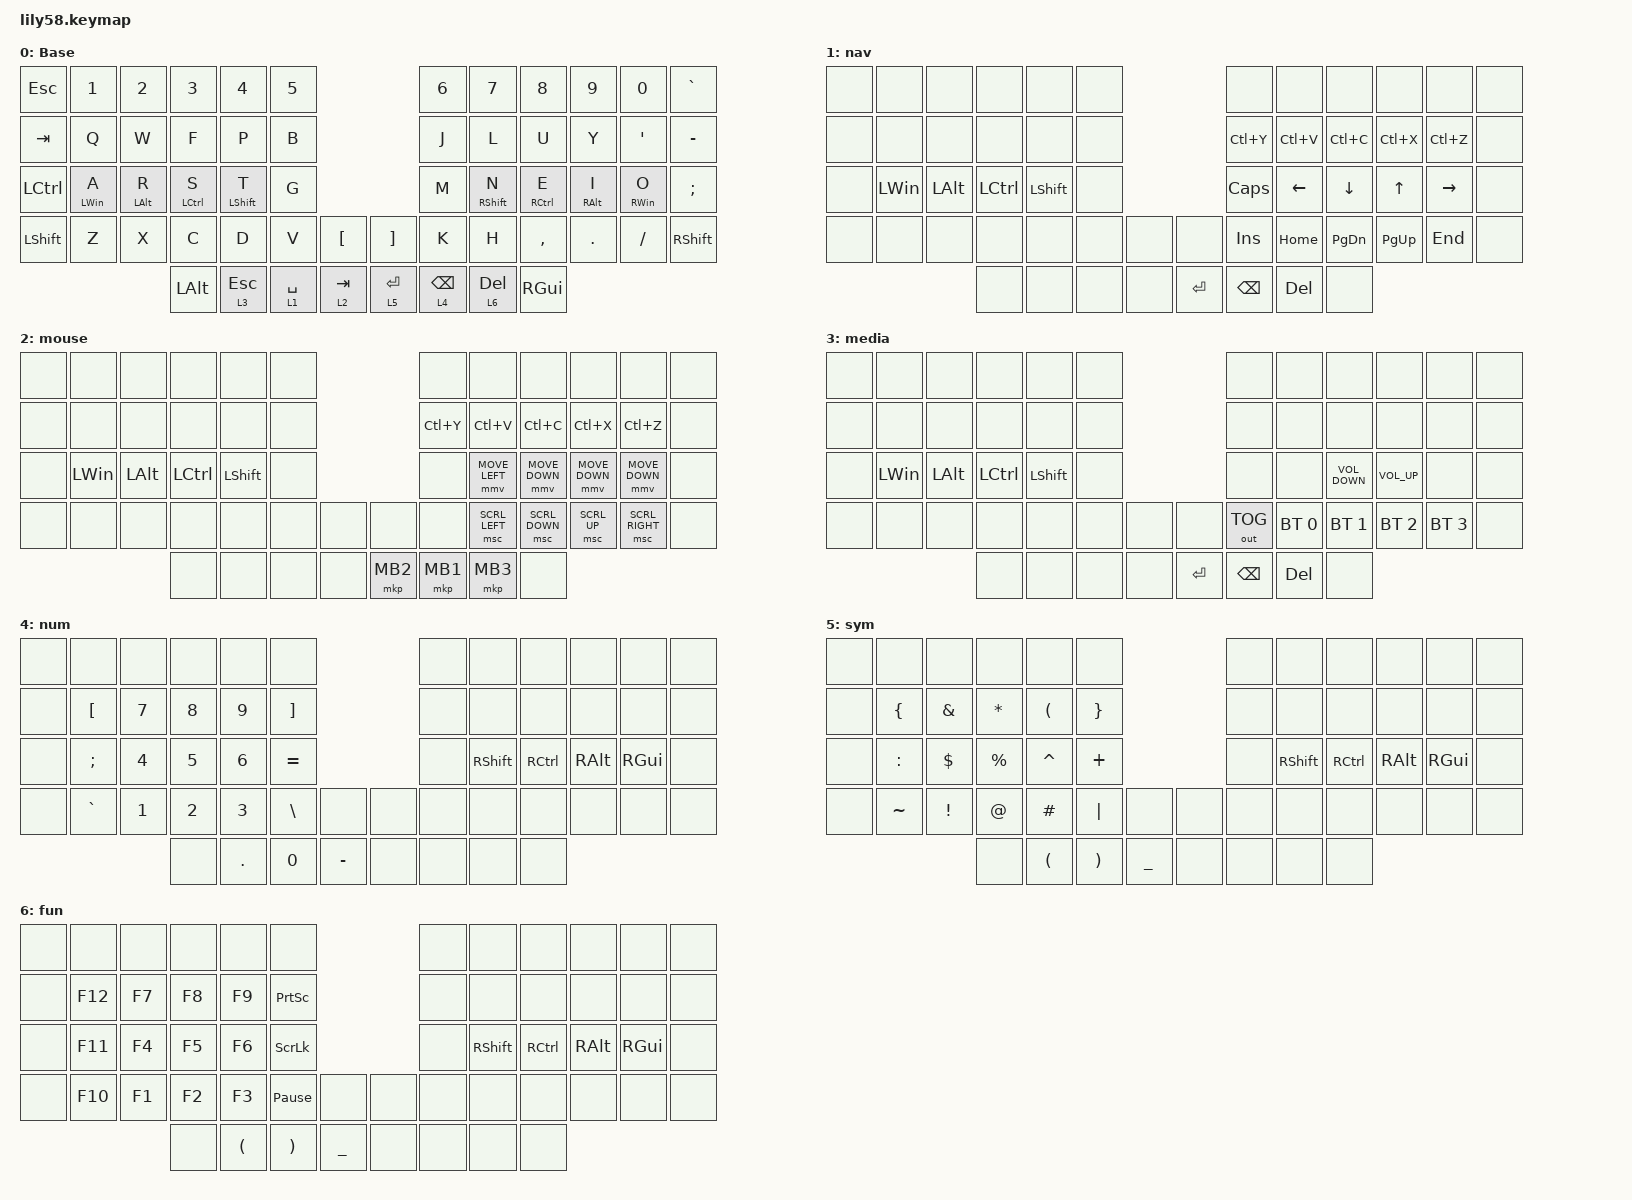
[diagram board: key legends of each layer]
/*
 * Copyright (c) 2020 The ZMK Contributors
 *
 * SPDX-License-Identifier: MIT
 */

#include <behaviors.dtsi>
#include <dt-bindings/zmk/bt.h>
#include <dt-bindings/zmk/keys.h>
#include <dt-bindings/zmk/outputs.h>
#include <dt-bindings/zmk/pointing.h>

&mt { flavor = "balanced"; };

/ {
    keymap {
        compatible = "zmk,keymap";

        default_layer {
            // ------------------------------------------------------------------------------------------------------------
            // |  ESC  |  1  |  2  |  3   |  4   |  5   |                   |  6   |  7    |  8    |  9   |   0   |   `   |
            // |  TAB  |  Q  |  W  |  E   |  R   |  T   |                   |  Y   |  U    |  I    |  O   |   P   |   -   |
            // |  CTRL |  A  |  S  |  D   |  F   |  G   |                   |  H   |  J    |  K    |  L   |   ;   |   '   |
            // | SHIFT |  Z  |  X  |  C   |  V   |  B   |   "["  |  |  "]"  |  N   |  M    |  ,    |  .   |   /   | SHIFT |
            //                     | ALT  | GUI  | LOWER|  SPACE |  | ENTER | RAISE| BSPC  | GUI   |

            display-name = "Base";
            bindings = <
&kp ESC    &kp N1          &kp N2          &kp N3       &kp N4            &kp N5                                 &kp N6           &kp N7             &kp N8       &kp N9           &kp N0           &kp GRAVE
&kp TAB    &kp Q           &kp W           &kp F        &kp P             &kp B                                  &kp J            &kp L              &kp U        &kp Y            &kp SQT          &kp MINUS
&kp LCTRL  &mt LEFT_WIN A  &mt LEFT_ALT R  &mt LCTRL S  &mt LEFT_SHIFT T  &kp G                                  &kp M            &mt RIGHT_SHIFT N  &mt RCTRL E  &mt RIGHT_ALT I  &mt RIGHT_WIN O  &kp SEMICOLON
&kp LSHFT  &kp Z           &kp X           &kp C        &kp D             &kp V        &kp LBKT     &kp RBKT     &kp K            &kp H              &kp COMMA    &kp DOT          &kp FSLH         &kp RSHFT
                                           &kp LALT     &lt 3 ESCAPE      &lt 1 SPACE  &lt 2 TAB    &lt 5 ENTER  &lt 4 BACKSPACE  &lt 6 DELETE       &kp RGUI
            >;
        };

        nav {
            bindings = <
&none  &none         &none     &none      &none      &none                      &none       &none           &none           &none         &none            &none
&none  &none         &none     &none      &none      &none                      &kp LC(Y)   &kp LC(V)       &kp LC(C)       &kp LC(X)     &kp LC(Z)        &none
&none  &kp LEFT_WIN  &kp LALT  &kp LCTRL  &kp LSHFT  &none                      &kp CAPS    &kp LEFT_ARROW  &kp DOWN_ARROW  &kp UP_ARROW  &kp RIGHT_ARROW  &none
&none  &none         &none     &none      &none      &none  &none    &none      &kp INSERT  &kp HOME        &kp PAGE_DOWN   &kp PAGE_UP   &kp END          &none
                               &none      &none      &none  &none    &kp ENTER  &kp BSPC    &kp DELETE      &none
            >;
        };

        mouse {
            bindings = <
&none  &none         &none     &none      &none      &none                     &none      &none           &none           &none           &none            &none
&none  &none         &none     &none      &none      &none                     &kp LC(Y)  &kp LC(V)       &kp LC(C)       &kp LC(X)       &kp LC(Z)        &none
&none  &kp LEFT_WIN  &kp LALT  &kp LCTRL  &kp LSHFT  &none                     &none      &mmv MOVE_LEFT  &mmv MOVE_DOWN  &mmv MOVE_DOWN  &mmv MOVE_DOWN   &none
&none  &none         &none     &none      &none      &none  &none    &none     &none      &msc SCRL_LEFT  &msc SCRL_DOWN  &msc SCRL_UP    &msc SCRL_RIGHT  &none
                               &none      &none      &none  &none    &mkp MB2  &mkp MB1   &mkp MB3        &none
            >;
        };

        media {
            bindings = <
&none  &none         &none     &none      &none      &none                      &none         &none         &none              &none            &none         &none
&none  &none         &none     &none      &none      &none                      &none         &none         &none              &none            &none         &none
&none  &kp LEFT_WIN  &kp LALT  &kp LCTRL  &kp LSHFT  &none                      &none         &none         &kp C_VOLUME_DOWN  &kp C_VOLUME_UP  &none         &none
&none  &none         &none     &none      &none      &none  &none    &none      &out OUT_TOG  &bt BT_SEL 0  &bt BT_SEL 1       &bt BT_SEL 2     &bt BT_SEL 3  &none
                               &none      &none      &none  &none    &kp ENTER  &kp BSPC      &kp DELETE    &none
            >;
        };

        num {
            bindings = <
&none  &none      &none   &none   &none       &none                              &none  &none            &none      &none          &none          &none
&none  &kp LBKT   &kp N7  &kp N8  &kp N9      &kp RBKT                           &none  &none            &none      &none          &none          &none
&none  &kp SEMI   &kp N4  &kp N5  &kp N6      &kp EQUAL                          &none  &kp RIGHT_SHIFT  &kp RCTRL  &kp RIGHT_ALT  &kp RIGHT_GUI  &none
&none  &kp GRAVE  &kp N1  &kp N2  &kp N3      &kp BACKSLASH  &none        &none  &none  &none            &none      &none          &none          &none
                          &none   &kp PERIOD  &kp N0         &kp MINUS    &none  &none  &none            &none
            >;
        };

        sym {
            bindings = <
&none  &none           &none          &none        &none                 &none                                      &none  &none            &none      &none          &none          &none
&none  &kp LEFT_BRACE  &kp AMPERSAND  &kp STAR     &kp LEFT_PARENTHESIS  &kp RIGHT_BRACE                            &none  &none            &none      &none          &none          &none
&none  &kp COLON       &kp DOLLAR     &kp PERCENT  &kp CARET             &kp PLUS                                   &none  &kp RIGHT_SHIFT  &kp RCTRL  &kp RIGHT_ALT  &kp RIGHT_GUI  &none
&none  &kp TILDE       &kp EXCL       &kp AT       &kp HASH              &kp PIPE               &none        &none  &none  &none            &none      &none          &none          &none
                                      &none        &kp LEFT_PARENTHESIS  &kp RIGHT_PARENTHESIS  &kp UNDER    &none  &none  &none            &none
            >;
        };

        fun {
            bindings = <
&none  &none    &none   &none   &none                 &none                                      &none  &none            &none      &none          &none          &none
&none  &kp F12  &kp F7  &kp F8  &kp F9                &kp PRINTSCREEN                            &none  &none            &none      &none          &none          &none
&none  &kp F11  &kp F4  &kp F5  &kp F6                &kp SCROLLLOCK                             &none  &kp RIGHT_SHIFT  &kp RCTRL  &kp RIGHT_ALT  &kp RIGHT_GUI  &none
&none  &kp F10  &kp F1  &kp F2  &kp F3                &kp PAUSE_BREAK        &none        &none  &none  &none            &none      &none          &none          &none
                        &none   &kp LEFT_PARENTHESIS  &kp RIGHT_PARENTHESIS  &kp UNDER    &none  &none  &none            &none
            >;
        };
    };
};
